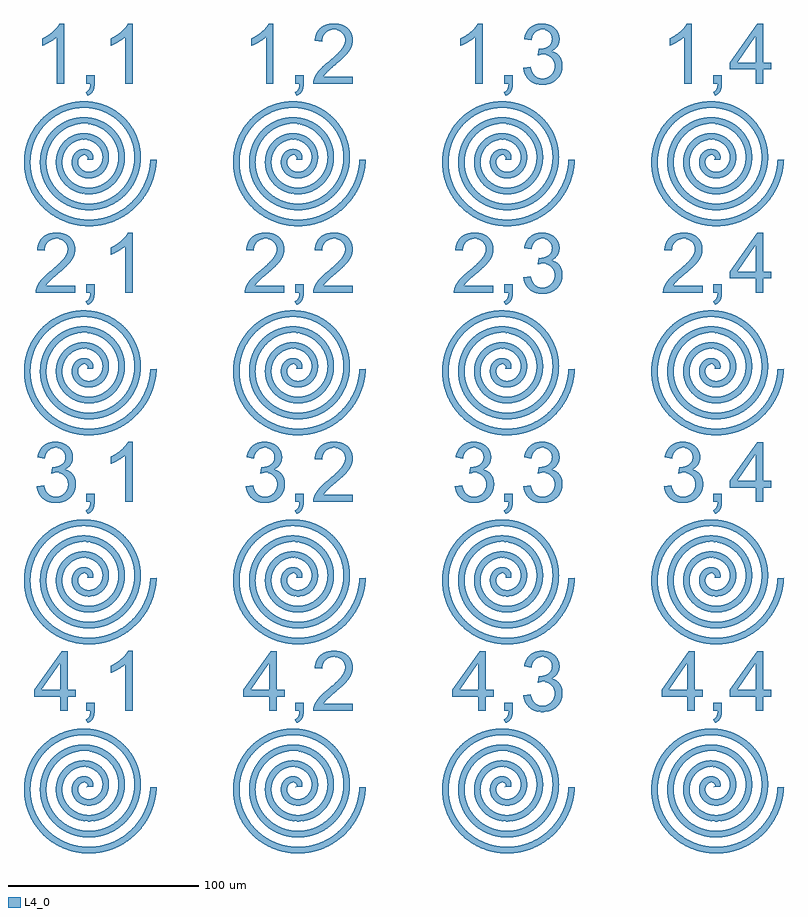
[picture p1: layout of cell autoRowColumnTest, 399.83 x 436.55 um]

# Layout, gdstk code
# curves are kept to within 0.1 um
import gdstk
lib = gdstk.Library(unit=1e-6, precision=1e-09)
def P(c, l, *ps):  # polygons
    for p in ps: c.add(gdstk.Polygon(p, *l))
L4_0 = (4, 0)

spiral = lib.new_cell('spiral')
P(spiral, L4_0, [(0,0),(0.503,0.218),(0.745,0.767),(3.108,3.217),(3.62,1.585),(3.404,0.009)],
  [(0.745,0.767),(0.55,1.55),(-0.062,2.138),(-0.177,5.54),(0.832,5.223),(1.76,4.703),(2.517,4.033),(3.108,3.217)],
  [(-0.062,2.138),(-1.173,2.433),(-2.366,2.167),(-4.888,4.453),(-3.807,5.093),(-2.605,5.506),(-1.336,5.655),(-0.177,5.54)],
  [(-7.667,-0.469),(-7.343,1.026),(-6.741,2.376),(-5.905,3.53),(-4.888,4.453),(-2.366,2.167),(-3.577,1.192),(-4.271,-0.25)],
  [(-5.702,-6.639),(-6.654,-5.284),(-7.333,-3.736),(-7.672,-2.133),(-7.667,-0.469),(-4.271,-0.25),(-4.396,-1.209),(-4.286,-2.277),(-3.495,-4.047)],
  [(0.886,-9.781),(-0.952,-9.519),(-2.745,-8.885),(-4.4,-7.873),(-5.702,-6.639),(-3.495,-4.047),(-2.753,-4.894),(-1.808,-5.598),(-0.69,-6.111),(0.561,-6.393)],
  [(1.283,-9.79),(0.886,-9.781),(0.561,-6.393),(1.896,-6.41),(3.325,-6.121),(4.582,-5.579),(5.806,-4.726),(8.465,-6.852),(6.945,-8.074),(5.169,-9.02),(3.29,-9.593)],
  [(8.465,-6.852),(5.806,-4.726),(6.914,-3.54),(7.737,-2.168),(8.28,-0.607),(8.498,0.997),(11.874,1.426),(11.655,-0.94),(11.023,-3.056),(9.958,-5.064)],
  [(8.498,0.997),(8.399,2.661),(7.904,4.492),(7.055,6.148),(5.856,7.64),(7.898,10.363),(9.448,8.619),(10.689,6.547),(11.495,4.321),(11.854,2.029),(11.874,1.426)],
  [(5.856,7.64),(4.339,8.891),(2.458,9.873),(0.563,10.413),(-1.556,10.581),(-2.09,13.943),(0.295,13.868),(2.725,13.356),(4.982,12.429),(7.102,11.051),(7.898,10.363)],
  [(-9.542,6.881),(-12.327,8.838),(-11.283,9.937),(-9.297,11.525),(-7.102,12.734),(-4.63,13.572),(-2.09,13.943),(-1.556,10.581),(-3.826,10.288),(-5.934,9.55),(-7.897,8.375)],
  [(-15.981,-2.875),(-15.983,0.192),(-15.365,3.308),(-14.156,6.187),(-12.327,8.838),(-9.542,6.881),(-10.963,4.959),(-12.03,2.624),(-12.579,0.186),(-12.638,-2.237)],
  [(-9.67,-14.354),(-12.028,-12.089),(-13.967,-9.311),(-15.291,-6.249),(-15.981,-2.875),(-12.638,-2.237),(-12.19,-4.801),(-11.218,-7.273),(-9.74,-9.544),(-7.8,-11.51)],
  [(1.403,-18.149),(-1.488,-17.928),(-4.443,-17.197),(-7.195,-15.99),(-9.67,-14.354),(-7.8,-11.51),(-5.461,-13.077),(-2.667,-14.204),(0.212,-14.718),(3.04,-14.662),(3.78,-17.984)],
  [(3.78,-17.984),(3.04,-14.662),(6.142,-13.963),(8.948,-12.683),(11.484,-10.836),(13.538,-8.608),(16.439,-10.389),(13.854,-13.263),(10.79,-15.532),(7.383,-17.12)],
  [(16.439,-10.389),(13.538,-8.608),(15.228,-5.843),(16.389,-2.584),(16.842,0.735),(16.647,3.962),(19.946,4.804),(20.193,2.771),(20.235,0.736),(20.074,-1.279),(19.714,-3.255),(18.425,-7.012)],
  [(16.647,3.962),(15.771,7.302),(14.222,10.448),(12.042,13.263),(9.304,15.621),(10.995,18.576),(13.52,16.569),(15.696,14.228),(17.479,11.611),(18.836,8.784),(19.492,6.816),(19.946,4.804)],
  [(9.304,15.621),(6.103,17.41),(2.559,18.541),(-1.192,18.947),(-5.002,18.59),(-5.946,21.861),(-2.589,22.305),(0.544,22.261),(3.83,21.732),(6.97,20.726),(9.141,19.702),(10.995,18.576)],
  [(-17.755,9.884),(-20.761,11.483),(-19.401,13.422),(-17.699,15.374),(-15.073,17.694),(-12.356,19.466),(-9.227,20.91),(-5.946,21.861),(-5.002,18.59),(-8.715,17.465),(-12.175,15.596),(-13.764,14.4),(-15.234,13.041),(-16.57,11.531)],
  [(-23.725,-7.203),(-24.194,-4.773),(-24.417,-2.321),(-24.393,0.127),(-24.125,2.548),(-23.619,4.916),(-22.883,7.21),(-21.926,9.405),(-20.761,11.483),(-17.755,9.884),(-18.776,8.115),(-19.62,6.241),(-20.275,4.278),(-20.734,2.247),(-20.989,0.167),(-21.034,-1.941),(-20.866,-4.057),(-20.485,-6.158)],
  [(-11.852,-22.988),(-14.015,-21.578),(-16.015,-19.967),(-17.835,-18.173),(-19.458,-16.216),(-20.868,-14.117),(-22.056,-11.9),(-23.01,-9.587),(-23.725,-7.203),(-20.485,-6.158),(-19.891,-8.224),(-19.089,-10.232),(-18.083,-12.161),(-16.881,-13.991),(-15.494,-15.701),(-13.933,-17.274),(-12.212,-18.69),(-10.347,-19.935)],
  [(1.434,-26.533),(-2.005,-26.322),(-5.365,-25.67),(-8.59,-24.594),(-11.852,-22.988),(-10.347,-19.935),(-8.354,-20.992),(-6.254,-21.85),(-4.065,-22.497),(-1.581,-22.954),(0.723,-23.13),(3.046,-23.075),(5.134,-22.826),(7.429,-22.326),(8.574,-25.532),(4.893,-26.295)],
  [(8.574,-25.532),(7.429,-22.326),(9.676,-21.595),(11.85,-20.637),(13.929,-19.459),(15.89,-18.072),(17.713,-16.486),(19.377,-14.717),(20.863,-12.778),(22.155,-10.69),(25.254,-12.1),(23.805,-14.491),(22.133,-16.715),(20.256,-18.75),(18.194,-20.578),(15.971,-22.183),(13.609,-23.551),(11.135,-24.67)],
  [(25.254,-12.1),(22.155,-10.69),(23.237,-8.47),(24.096,-6.141),(24.721,-3.725),(25.103,-1.245),(25.235,1.274),(25.114,3.807),(24.738,6.328),(24.108,8.812),(27.278,10.056),(28.016,7.249),(28.467,4.395),(28.631,1.524),(28.506,-1.335),(28.098,-4.155),(27.413,-6.907),(26.461,-9.564)],
  [(24.108,8.812),(23.229,11.233),(22.105,13.566),(20.747,15.786),(19.165,17.87),(17.373,19.794),(15.388,21.538),(13.227,23.083),(10.911,24.41),(12.225,27.551),(15.603,25.586),(18.902,23.013),(21.599,20.25),(24.06,16.93),(25.898,13.588),(27.278,10.056)],
  [(10.911,24.41),(8.462,25.505),(5.903,26.352),(3.258,26.943),(0.555,27.267),(-2.181,27.32),(-4.921,27.097),(-7.638,26.599),(-10.305,25.828),(-11.646,28.957),(-7.751,30.054),(-3.46,30.656),(0.54,30.672),(4.786,30.111),(8.599,29.07),(12.225,27.551)],
  [(-26.696,11.009),(-29.876,12.225),(-27.888,15.909),(-25.248,19.53),(-22.38,22.515),(-19.167,25.088),(-15.666,27.211),(-11.646,28.957),(-10.305,25.828),(-12.894,24.788),(-15.377,23.489),(-17.73,21.941),(-19.925,20.156),(-21.941,18.151),(-23.755,15.945),(-25.346,13.557)],
  [(-30.565,-13.342),(-31.617,-10.183),(-32.345,-6.948),(-32.744,-3.669),(-32.813,-0.38),(-32.554,2.886),(-31.972,6.096),(-31.076,9.219),(-29.876,12.225),(-26.696,11.009),(-27.79,8.328),(-28.614,5.537),(-29.157,2.665),(-29.411,-0.26),(-29.371,-3.21),(-29.034,-6.154),(-28.402,-9.062),(-27.478,-11.905)],
  [(-12.1,-32.223),(-15.197,-30.734),(-18.118,-28.95),(-20.836,-26.891),(-23.325,-24.58),(-25.561,-22.041),(-27.524,-19.302),(-29.197,-16.393),(-30.565,-13.342),(-27.478,-11.905),(-26.269,-14.654),(-24.785,-17.28),(-23.037,-19.755),(-21.042,-22.053),(-18.818,-24.149),(-16.384,-26.02),(-13.764,-27.646),(-10.983,-29.007)],
  [(1.426,-34.925),(-2.06,-34.76),(-5.499,-34.249),(-8.856,-33.399),(-12.1,-32.223),(-10.983,-29.007),(-8.067,-30.087),(-5.044,-30.874),(-1.945,-31.357),(1.2,-31.528),(4.36,-31.383),(7.503,-30.921),(10.597,-30.144),(13.61,-29.056),(15.142,-32.097),(11.817,-33.322),(8.4,-34.206),(4.924,-34.741)],
  [(15.142,-32.097),(13.61,-29.056),(16.511,-27.667),(19.271,-25.988),(21.859,-24.033),(24.248,-21.82),(26.413,-19.369),(28.33,-16.704),(29.978,-13.848),(31.337,-10.83),(34.586,-11.847),(33.109,-15.185),(31.313,-18.347),(29.216,-21.302),(26.844,-24.023),(24.222,-26.485),(21.377,-28.663),(18.339,-30.54)],
  [(34.586,-11.847),(31.337,-10.83),(32.3,-7.998),(32.941,-5.409),(33.375,-2.768),(33.596,-0.092),(37,0),(36.775,-2.948),(36.243,-6.221),(35.526,-9.071)])

autorowcolumntest = lib.new_cell('autoRowColumnTest')
P(autorowcolumntest, L4_0, [(28.734,-6.234),(27.656,-4.578),(28.715,-3.918),(29.489,-2.934),(29.906,-1.727),(30.109,0),(27.906,0),(27.906,4.406),(32.313,4.406),(32.292,-0.734),(31.869,-3.005),(31.398,-4.015),(30.744,-4.872),(29.895,-5.595)],
  [(12.531,0),(12.531,24.641),(11.136,23.477),(9.139,22.144),(6.967,20.938),(4.797,19.984),(4.797,23.719),(7.652,25.293),(10.308,27.279),(12.428,29.417),(13.906,31.625),(16.391,31.625),(16.391,0)],
  [(48.531,0),(48.531,24.641),(47.136,23.477),(45.139,22.144),(42.967,20.938),(40.797,19.984),(40.797,23.719),(43.652,25.293),(46.308,27.279),(48.428,29.417),(49.906,31.625),(52.391,31.625),(52.391,0)],
  [(138.734,-6.234),(137.656,-4.578),(138.715,-3.918),(139.489,-2.934),(139.906,-1.727),(140.109,0),(137.906,0),(137.906,4.406),(142.313,4.406),(142.292,-0.734),(141.869,-3.005),(141.398,-4.015),(140.744,-4.872),(139.895,-5.595)],
  [(122.531,0),(122.531,24.641),(121.136,23.477),(119.139,22.144),(116.967,20.938),(114.797,19.984),(114.797,23.719),(117.652,25.293),(120.308,27.279),(122.428,29.417),(123.906,31.625),(126.391,31.625),(126.391,0)],
  [(147.328,0),(147.44,1.451),(147.781,2.688),(148.586,4.404),(149.608,5.97),(152.312,8.949),(158.531,14.333),(161.542,17.336),(162.554,18.627),(163.363,19.98),(163.887,21.29),(164.125,22.556),(164.083,23.805),(163.825,24.841),(163.289,25.899),(162.594,26.744),(161.724,27.459),(160.596,28.027),(159.461,28.323),(158.203,28.422),(156.875,28.317),(155.688,28.004),(154.641,27.481),(153.734,26.75),(153.001,25.833),(152.473,24.754),(152.149,23.513),(152.031,22.109),(148.063,22.516),(148.503,24.972),(149.341,27.055),(150.355,28.517),(151.648,29.713),(153.285,30.67),(155.061,31.27),(157.201,31.589),(159.667,31.564),(161.784,31.177),(163.634,30.436),(164.957,29.559),(166.088,28.462),(167.026,27.146),(167.674,25.698),(168.017,24.227),(168.103,22.521),(167.891,20.886),(167.384,19.278),(166.142,17.052),(164.28,14.791),(161.598,12.208),(154.796,6.271),(153.641,5.027),(152.703,3.719),(168.156,3.719),(168.156,0)],
  [(248.734,-6.234),(247.656,-4.578),(248.715,-3.918),(249.489,-2.934),(249.906,-1.727),(250.109,0),(247.906,0),(247.906,4.406),(252.313,4.406),(252.292,-0.734),(251.869,-3.005),(251.398,-4.015),(250.744,-4.872),(249.895,-5.595)],
  [(232.531,0),(232.531,24.641),(231.136,23.477),(229.139,22.144),(226.967,20.938),(224.797,19.984),(224.797,23.719),(227.652,25.293),(230.308,27.279),(232.428,29.417),(233.906,31.625),(236.391,31.625),(236.391,0)],
  [(267.859,-0.562),(265.876,-0.408),(264.068,0.057),(262.532,0.773),(261.063,1.837),(259.82,3.154),(258.822,4.752),(258.186,6.442),(257.844,8.313),(261.719,8.828),(262.474,6.307),(263.591,4.486),(265.16,3.266),(267.174,2.676),(269.346,2.79),(271.165,3.494),(272.72,4.771),(273.844,6.503),(274.329,8.367),(274.292,10.337),(273.761,12.048),(272.633,13.609),(271.193,14.666),(269.488,15.235),(267.622,15.316),(265.469,14.906),(265.906,18.313),(267.881,18.368),(269.826,18.932),(271.44,19.899),(272.428,21.132),(272.884,22.573),(272.903,24.303),(272.498,25.692),(271.69,26.877),(270.64,27.731),(269.389,28.256),(267.939,28.452),(266.338,28.285),(264.734,27.585),(263.512,26.449),(262.631,24.847),(262.109,22.781),(258.234,23.469),(258.699,25.298),(259.341,26.816),(260.245,28.225),(261.375,29.417),(262.787,30.421),(264.273,31.09),(265.912,31.491),(267.703,31.625),(270.328,31.312),(272.851,30.301),(274.768,28.818),(276.164,26.776),(276.67,25.404),(276.912,23.84),(276.854,22.444),(276.495,21.036),(275.895,19.832),(275.042,18.745),(273.942,17.821),(272.594,17.063),(273.907,16.655),(275.066,16.074),(276.071,15.319),(276.922,14.391),(277.599,13.311),(278.082,12.102),(278.372,10.764),(278.469,9.297),(278.281,7.313),(277.717,5.486),(276.706,3.718),(275.367,2.216),(273.858,1.05),(272.057,0.154),(270.057,-0.383)],
  [(358.734,-6.234),(357.656,-4.578),(358.715,-3.918),(359.489,-2.934),(359.906,-1.727),(360.109,0),(357.906,0),(357.906,4.406),(362.313,4.406),(362.292,-0.734),(361.869,-3.005),(361.398,-4.015),(360.744,-4.872),(359.895,-5.595)],
  [(380.219,0),(380.219,7.547),(366.563,7.547),(366.563,11.094),(380.219,11.094),(380.219,25.281),(370.359,11.094),(366.563,11.094),(380.938,31.5),(384.094,31.5),(384.094,11.094),(388.344,11.094),(388.344,7.547),(384.094,7.547),(384.094,0)],
  [(342.531,0),(342.531,24.641),(341.136,23.477),(339.139,22.144),(336.967,20.938),(334.797,19.984),(334.797,23.719),(337.652,25.293),(340.308,27.279),(342.428,29.417),(343.906,31.625),(346.391,31.625),(346.391,0)],
  [(28.734,-116.234),(27.656,-114.578),(28.715,-113.918),(29.489,-112.934),(29.906,-111.727),(30.109,-110),(27.906,-110),(27.906,-105.594),(32.313,-105.594),(32.292,-110.734),(31.869,-113.005),(31.398,-114.015),(30.744,-114.872),(29.895,-115.595)],
  [(1.328,-110),(1.44,-108.549),(1.781,-107.312),(2.586,-105.596),(3.608,-104.03),(6.312,-101.051),(12.531,-95.667),(15.542,-92.664),(16.554,-91.373),(17.363,-90.02),(17.887,-88.71),(18.125,-87.444),(18.083,-86.195),(17.825,-85.159),(17.289,-84.101),(16.594,-83.256),(15.724,-82.541),(14.596,-81.973),(13.461,-81.677),(12.203,-81.578),(10.875,-81.683),(9.688,-81.996),(8.641,-82.519),(7.734,-83.25),(7.001,-84.167),(6.473,-85.246),(6.149,-86.487),(6.031,-87.891),(2.063,-87.484),(2.503,-85.028),(3.341,-82.945),(4.355,-81.483),(5.648,-80.287),(7.285,-79.33),(9.061,-78.73),(11.201,-78.411),(13.667,-78.436),(15.784,-78.823),(17.634,-79.564),(18.957,-80.441),(20.088,-81.538),(21.026,-82.854),(21.674,-84.302),(22.017,-85.773),(22.103,-87.479),(21.891,-89.114),(21.384,-90.722),(20.142,-92.948),(18.28,-95.209),(15.598,-97.792),(8.796,-103.729),(7.641,-104.973),(6.703,-106.281),(22.156,-106.281),(22.156,-110)],
  [(48.531,-110),(48.531,-85.359),(47.136,-86.523),(45.139,-87.856),(42.967,-89.062),(40.797,-90.016),(40.797,-86.281),(43.652,-84.707),(46.308,-82.721),(48.428,-80.583),(49.906,-78.375),(52.391,-78.375),(52.391,-110)],
  [(138.734,-116.234),(137.656,-114.578),(138.715,-113.918),(139.489,-112.934),(139.906,-111.727),(140.109,-110),(137.906,-110),(137.906,-105.594),(142.313,-105.594),(142.292,-110.734),(141.869,-113.005),(141.398,-114.015),(140.744,-114.872),(139.895,-115.595)],
  [(111.328,-110),(111.44,-108.549),(111.781,-107.312),(112.586,-105.596),(113.608,-104.03),(116.312,-101.051),(122.531,-95.667),(125.542,-92.664),(126.554,-91.373),(127.363,-90.02),(127.887,-88.71),(128.125,-87.444),(128.083,-86.195),(127.825,-85.159),(127.289,-84.101),(126.594,-83.256),(125.724,-82.541),(124.596,-81.973),(123.461,-81.677),(122.203,-81.578),(120.875,-81.683),(119.688,-81.996),(118.641,-82.519),(117.734,-83.25),(117.001,-84.167),(116.473,-85.246),(116.149,-86.487),(116.031,-87.891),(112.063,-87.484),(112.503,-85.028),(113.341,-82.945),(114.355,-81.483),(115.648,-80.287),(117.285,-79.33),(119.061,-78.73),(121.201,-78.411),(123.667,-78.436),(125.784,-78.823),(127.634,-79.564),(128.957,-80.441),(130.088,-81.538),(131.026,-82.854),(131.674,-84.302),(132.017,-85.773),(132.103,-87.479),(131.891,-89.114),(131.384,-90.722),(130.142,-92.948),(128.28,-95.209),(125.598,-97.792),(118.796,-103.729),(117.641,-104.973),(116.703,-106.281),(132.156,-106.281),(132.156,-110)],
  [(147.328,-110),(147.44,-108.549),(147.781,-107.312),(148.586,-105.596),(149.608,-104.03),(152.312,-101.051),(158.531,-95.667),(161.542,-92.664),(162.554,-91.373),(163.363,-90.02),(163.887,-88.71),(164.125,-87.444),(164.083,-86.195),(163.825,-85.159),(163.289,-84.101),(162.594,-83.256),(161.724,-82.541),(160.596,-81.973),(159.461,-81.677),(158.203,-81.578),(156.875,-81.683),(155.688,-81.996),(154.641,-82.519),(153.734,-83.25),(153.001,-84.167),(152.473,-85.246),(152.149,-86.487),(152.031,-87.891),(148.063,-87.484),(148.503,-85.028),(149.341,-82.945),(150.355,-81.483),(151.648,-80.287),(153.285,-79.33),(155.061,-78.73),(157.201,-78.411),(159.667,-78.436),(161.784,-78.823),(163.634,-79.564),(164.957,-80.441),(166.088,-81.538),(167.026,-82.854),(167.674,-84.302),(168.017,-85.773),(168.103,-87.479),(167.891,-89.114),(167.384,-90.722),(166.142,-92.948),(164.28,-95.209),(161.598,-97.792),(154.796,-103.729),(153.641,-104.973),(152.703,-106.281),(168.156,-106.281),(168.156,-110)],
  [(248.734,-116.234),(247.656,-114.578),(248.715,-113.918),(249.489,-112.934),(249.906,-111.727),(250.109,-110),(247.906,-110),(247.906,-105.594),(252.313,-105.594),(252.292,-110.734),(251.869,-113.005),(251.398,-114.015),(250.744,-114.872),(249.895,-115.595)],
  [(221.328,-110),(221.44,-108.549),(221.781,-107.312),(222.586,-105.596),(223.608,-104.03),(226.312,-101.051),(232.531,-95.667),(235.542,-92.664),(236.554,-91.373),(237.363,-90.02),(237.887,-88.71),(238.125,-87.444),(238.083,-86.195),(237.825,-85.159),(237.289,-84.101),(236.594,-83.256),(235.724,-82.541),(234.596,-81.973),(233.461,-81.677),(232.203,-81.578),(230.875,-81.683),(229.688,-81.996),(228.641,-82.519),(227.734,-83.25),(227.001,-84.167),(226.473,-85.246),(226.149,-86.487),(226.031,-87.891),(222.063,-87.484),(222.503,-85.028),(223.341,-82.945),(224.355,-81.483),(225.648,-80.287),(227.285,-79.33),(229.061,-78.73),(231.201,-78.411),(233.667,-78.436),(235.784,-78.823),(237.634,-79.564),(238.957,-80.441),(240.088,-81.538),(241.026,-82.854),(241.674,-84.302),(242.017,-85.773),(242.103,-87.479),(241.891,-89.114),(241.384,-90.722),(240.142,-92.948),(238.28,-95.209),(235.598,-97.792),(228.796,-103.729),(227.641,-104.973),(226.703,-106.281),(242.156,-106.281),(242.156,-110)],
  [(267.859,-110.562),(265.876,-110.408),(264.068,-109.943),(262.532,-109.227),(261.063,-108.163),(259.82,-106.846),(258.822,-105.248),(258.186,-103.558),(257.844,-101.687),(261.719,-101.172),(262.474,-103.693),(263.591,-105.514),(265.16,-106.734),(267.174,-107.324),(269.346,-107.21),(271.165,-106.506),(272.72,-105.229),(273.844,-103.497),(274.329,-101.633),(274.292,-99.663),(273.761,-97.952),(272.633,-96.391),(271.193,-95.334),(269.488,-94.765),(267.622,-94.684),(265.469,-95.094),(265.906,-91.687),(267.881,-91.632),(269.826,-91.068),(271.44,-90.101),(272.428,-88.868),(272.884,-87.427),(272.903,-85.697),(272.498,-84.308),(271.69,-83.123),(270.64,-82.269),(269.389,-81.744),(267.939,-81.548),(266.338,-81.715),(264.734,-82.415),(263.512,-83.551),(262.631,-85.153),(262.109,-87.219),(258.234,-86.531),(258.699,-84.702),(259.341,-83.184),(260.245,-81.775),(261.375,-80.583),(262.787,-79.579),(264.273,-78.91),(265.912,-78.509),(267.703,-78.375),(270.328,-78.688),(272.851,-79.699),(274.768,-81.182),(276.164,-83.224),(276.67,-84.596),(276.912,-86.16),(276.854,-87.556),(276.495,-88.964),(275.895,-90.168),(275.042,-91.255),(273.942,-92.179),(272.594,-92.937),(273.907,-93.345),(275.066,-93.926),(276.071,-94.681),(276.922,-95.609),(277.599,-96.689),(278.082,-97.898),(278.372,-99.236),(278.469,-100.703),(278.281,-102.687),(277.717,-104.514),(276.706,-106.282),(275.367,-107.784),(273.858,-108.95),(272.057,-109.846),(270.057,-110.383)],
  [(358.734,-116.234),(357.656,-114.578),(358.715,-113.918),(359.489,-112.934),(359.906,-111.727),(360.109,-110),(357.906,-110),(357.906,-105.594),(362.313,-105.594),(362.292,-110.734),(361.869,-113.005),(361.398,-114.015),(360.744,-114.872),(359.895,-115.595)],
  [(380.219,-110),(380.219,-102.453),(366.563,-102.453),(366.563,-98.906),(380.219,-98.906),(380.219,-84.719),(370.359,-98.906),(366.563,-98.906),(380.938,-78.5),(384.094,-78.5),(384.094,-98.906),(388.344,-98.906),(388.344,-102.453),(384.094,-102.453),(384.094,-110)],
  [(331.328,-110),(331.44,-108.549),(331.781,-107.312),(332.586,-105.596),(333.608,-104.03),(336.312,-101.051),(342.531,-95.667),(345.542,-92.664),(346.554,-91.373),(347.363,-90.02),(347.887,-88.71),(348.125,-87.444),(348.083,-86.195),(347.825,-85.159),(347.289,-84.101),(346.594,-83.256),(345.724,-82.541),(344.596,-81.973),(343.461,-81.677),(342.203,-81.578),(340.875,-81.683),(339.688,-81.996),(338.641,-82.519),(337.734,-83.25),(337.001,-84.167),(336.473,-85.246),(336.149,-86.487),(336.031,-87.891),(332.063,-87.484),(332.503,-85.028),(333.341,-82.945),(334.355,-81.483),(335.648,-80.287),(337.285,-79.33),(339.061,-78.73),(341.201,-78.411),(343.667,-78.436),(345.784,-78.823),(347.634,-79.564),(348.957,-80.441),(350.088,-81.538),(351.026,-82.854),(351.674,-84.302),(352.017,-85.773),(352.103,-87.479),(351.891,-89.114),(351.384,-90.722),(350.142,-92.948),(348.28,-95.209),(345.598,-97.792),(338.796,-103.729),(337.641,-104.973),(336.703,-106.281),(352.156,-106.281),(352.156,-110)],
  [(28.734,-226.234),(27.656,-224.578),(28.715,-223.918),(29.489,-222.934),(29.906,-221.727),(30.109,-220),(27.906,-220),(27.906,-215.594),(32.313,-215.594),(32.292,-220.734),(31.869,-223.005),(31.398,-224.015),(30.744,-224.872),(29.895,-225.595)],
  [(11.859,-220.562),(9.876,-220.408),(8.068,-219.943),(6.532,-219.227),(5.063,-218.163),(3.82,-216.846),(2.822,-215.248),(2.186,-213.558),(1.844,-211.687),(5.719,-211.172),(6.474,-213.693),(7.591,-215.514),(9.16,-216.734),(11.174,-217.324),(13.346,-217.21),(15.165,-216.506),(16.72,-215.229),(17.844,-213.497),(18.329,-211.633),(18.292,-209.663),(17.761,-207.952),(16.633,-206.391),(15.193,-205.334),(13.488,-204.765),(11.622,-204.684),(9.469,-205.094),(9.906,-201.687),(11.881,-201.632),(13.826,-201.068),(15.44,-200.101),(16.428,-198.868),(16.884,-197.427),(16.903,-195.697),(16.498,-194.308),(15.69,-193.123),(14.64,-192.269),(13.389,-191.744),(11.939,-191.548),(10.338,-191.715),(8.734,-192.415),(7.512,-193.551),(6.631,-195.153),(6.109,-197.219),(2.234,-196.531),(2.699,-194.702),(3.341,-193.184),(4.245,-191.775),(5.375,-190.583),(6.787,-189.579),(8.273,-188.91),(9.912,-188.509),(11.703,-188.375),(14.328,-188.688),(16.851,-189.699),(18.768,-191.182),(20.164,-193.224),(20.67,-194.596),(20.912,-196.16),(20.854,-197.556),(20.495,-198.964),(19.895,-200.168),(19.042,-201.255),(17.942,-202.179),(16.594,-202.937),(17.907,-203.345),(19.066,-203.926),(20.071,-204.681),(20.922,-205.609),(21.599,-206.689),(22.082,-207.898),(22.372,-209.236),(22.469,-210.703),(22.281,-212.687),(21.717,-214.514),(20.706,-216.282),(19.367,-217.784),(17.858,-218.95),(16.057,-219.846),(14.057,-220.383)],
  [(48.531,-220),(48.531,-195.359),(47.136,-196.523),(45.139,-197.856),(42.967,-199.062),(40.797,-200.016),(40.797,-196.281),(43.652,-194.707),(46.308,-192.721),(48.428,-190.583),(49.906,-188.375),(52.391,-188.375),(52.391,-220)],
  [(138.734,-226.234),(137.656,-224.578),(138.715,-223.918),(139.489,-222.934),(139.906,-221.727),(140.109,-220),(137.906,-220),(137.906,-215.594),(142.313,-215.594),(142.292,-220.734),(141.869,-223.005),(141.398,-224.015),(140.744,-224.872),(139.895,-225.595)],
  [(121.859,-220.562),(119.876,-220.408),(118.068,-219.943),(116.532,-219.227),(115.063,-218.163),(113.82,-216.846),(112.822,-215.248),(112.186,-213.558),(111.844,-211.687),(115.719,-211.172),(116.474,-213.693),(117.591,-215.514),(119.16,-216.734),(121.174,-217.324),(123.346,-217.21),(125.165,-216.506),(126.72,-215.229),(127.844,-213.497),(128.329,-211.633),(128.292,-209.663),(127.761,-207.952),(126.633,-206.391),(125.193,-205.334),(123.488,-204.765),(121.622,-204.684),(119.469,-205.094),(119.906,-201.687),(121.881,-201.632),(123.826,-201.068),(125.44,-200.101),(126.428,-198.868),(126.884,-197.427),(126.903,-195.697),(126.498,-194.308),(125.69,-193.123),(124.64,-192.269),(123.389,-191.744),(121.939,-191.548),(120.338,-191.715),(118.734,-192.415),(117.512,-193.551),(116.631,-195.153),(116.109,-197.219),(112.234,-196.531),(112.699,-194.702),(113.341,-193.184),(114.245,-191.775),(115.375,-190.583),(116.787,-189.579),(118.273,-188.91),(119.912,-188.509),(121.703,-188.375),(124.328,-188.688),(126.851,-189.699),(128.768,-191.182),(130.164,-193.224),(130.67,-194.596),(130.912,-196.16),(130.854,-197.556),(130.495,-198.964),(129.895,-200.168),(129.042,-201.255),(127.942,-202.179),(126.594,-202.937),(127.907,-203.345),(129.066,-203.926),(130.071,-204.681),(130.922,-205.609),(131.599,-206.689),(132.082,-207.898),(132.372,-209.236),(132.469,-210.703),(132.281,-212.687),(131.717,-214.514),(130.706,-216.282),(129.367,-217.784),(127.858,-218.95),(126.057,-219.846),(124.057,-220.383)],
  [(147.328,-220),(147.44,-218.549),(147.781,-217.312),(148.586,-215.596),(149.608,-214.03),(152.312,-211.051),(158.531,-205.667),(161.542,-202.664),(162.554,-201.373),(163.363,-200.02),(163.887,-198.71),(164.125,-197.444),(164.083,-196.195),(163.825,-195.159),(163.289,-194.101),(162.594,-193.256),(161.724,-192.541),(160.596,-191.973),(159.461,-191.677),(158.203,-191.578),(156.875,-191.683),(155.688,-191.996),(154.641,-192.519),(153.734,-193.25),(153.001,-194.167),(152.473,-195.246),(152.149,-196.487),(152.031,-197.891),(148.063,-197.484),(148.503,-195.028),(149.341,-192.945),(150.355,-191.483),(151.648,-190.287),(153.285,-189.33),(155.061,-188.73),(157.201,-188.411),(159.667,-188.436),(161.784,-188.823),(163.634,-189.564),(164.957,-190.441),(166.088,-191.538),(167.026,-192.854),(167.674,-194.302),(168.017,-195.773),(168.103,-197.479),(167.891,-199.114),(167.384,-200.722),(166.142,-202.948),(164.28,-205.209),(161.598,-207.792),(154.796,-213.729),(153.641,-214.973),(152.703,-216.281),(168.156,-216.281),(168.156,-220)],
  [(248.734,-226.234),(247.656,-224.578),(248.715,-223.918),(249.489,-222.934),(249.906,-221.727),(250.109,-220),(247.906,-220),(247.906,-215.594),(252.313,-215.594),(252.292,-220.734),(251.869,-223.005),(251.398,-224.015),(250.744,-224.872),(249.895,-225.595)],
  [(231.859,-220.562),(229.876,-220.408),(228.068,-219.943),(226.532,-219.227),(225.063,-218.163),(223.82,-216.846),(222.822,-215.248),(222.186,-213.558),(221.844,-211.687),(225.719,-211.172),(226.474,-213.693),(227.591,-215.514),(229.16,-216.734),(231.174,-217.324),(233.346,-217.21),(235.165,-216.506),(236.72,-215.229),(237.844,-213.497),(238.329,-211.633),(238.292,-209.663),(237.761,-207.952),(236.633,-206.391),(235.193,-205.334),(233.488,-204.765),(231.622,-204.684),(229.469,-205.094),(229.906,-201.687),(231.881,-201.632),(233.826,-201.068),(235.44,-200.101),(236.428,-198.868),(236.884,-197.427),(236.903,-195.697),(236.498,-194.308),(235.69,-193.123),(234.64,-192.269),(233.389,-191.744),(231.939,-191.548),(230.338,-191.715),(228.734,-192.415),(227.512,-193.551),(226.631,-195.153),(226.109,-197.219),(222.234,-196.531),(222.699,-194.702),(223.341,-193.184),(224.245,-191.775),(225.375,-190.583),(226.787,-189.579),(228.273,-188.91),(229.912,-188.509),(231.703,-188.375),(234.328,-188.688),(236.851,-189.699),(238.768,-191.182),(240.164,-193.224),(240.67,-194.596),(240.912,-196.16),(240.854,-197.556),(240.495,-198.964),(239.895,-200.168),(239.042,-201.255),(237.942,-202.179),(236.594,-202.937),(237.907,-203.345),(239.066,-203.926),(240.071,-204.681),(240.922,-205.609),(241.599,-206.689),(242.082,-207.898),(242.372,-209.236),(242.469,-210.703),(242.281,-212.687),(241.717,-214.514),(240.706,-216.282),(239.367,-217.784),(237.858,-218.95),(236.057,-219.846),(234.057,-220.383)],
  [(267.859,-220.562),(265.876,-220.408),(264.068,-219.943),(262.532,-219.227),(261.063,-218.163),(259.82,-216.846),(258.822,-215.248),(258.186,-213.558),(257.844,-211.687),(261.719,-211.172),(262.474,-213.693),(263.591,-215.514),(265.16,-216.734),(267.174,-217.324),(269.346,-217.21),(271.165,-216.506),(272.72,-215.229),(273.844,-213.497),(274.329,-211.633),(274.292,-209.663),(273.761,-207.952),(272.633,-206.391),(271.193,-205.334),(269.488,-204.765),(267.622,-204.684),(265.469,-205.094),(265.906,-201.687),(267.881,-201.632),(269.826,-201.068),(271.44,-200.101),(272.428,-198.868),(272.884,-197.427),(272.903,-195.697),(272.498,-194.308),(271.69,-193.123),(270.64,-192.269),(269.389,-191.744),(267.939,-191.548),(266.338,-191.715),(264.734,-192.415),(263.512,-193.551),(262.631,-195.153),(262.109,-197.219),(258.234,-196.531),(258.699,-194.702),(259.341,-193.184),(260.245,-191.775),(261.375,-190.583),(262.787,-189.579),(264.273,-188.91),(265.912,-188.509),(267.703,-188.375),(270.328,-188.688),(272.851,-189.699),(274.768,-191.182),(276.164,-193.224),(276.67,-194.596),(276.912,-196.16),(276.854,-197.556),(276.495,-198.964),(275.895,-200.168),(275.042,-201.255),(273.942,-202.179),(272.594,-202.937),(273.907,-203.345),(275.066,-203.926),(276.071,-204.681),(276.922,-205.609),(277.599,-206.689),(278.082,-207.898),(278.372,-209.236),(278.469,-210.703),(278.281,-212.687),(277.717,-214.514),(276.706,-216.282),(275.367,-217.784),(273.858,-218.95),(272.057,-219.846),(270.057,-220.383)],
  [(358.734,-226.234),(357.656,-224.578),(358.715,-223.918),(359.489,-222.934),(359.906,-221.727),(360.109,-220),(357.906,-220),(357.906,-215.594),(362.313,-215.594),(362.292,-220.734),(361.869,-223.005),(361.398,-224.015),(360.744,-224.872),(359.895,-225.595)],
  [(380.219,-220),(380.219,-212.453),(366.563,-212.453),(366.563,-208.906),(380.219,-208.906),(380.219,-194.719),(370.359,-208.906),(366.563,-208.906),(380.938,-188.5),(384.094,-188.5),(384.094,-208.906),(388.344,-208.906),(388.344,-212.453),(384.094,-212.453),(384.094,-220)],
  [(341.859,-220.562),(339.876,-220.408),(338.068,-219.943),(336.532,-219.227),(335.063,-218.163),(333.82,-216.846),(332.822,-215.248),(332.186,-213.558),(331.844,-211.687),(335.719,-211.172),(336.474,-213.693),(337.591,-215.514),(339.16,-216.734),(341.174,-217.324),(343.346,-217.21),(345.165,-216.506),(346.72,-215.229),(347.844,-213.497),(348.329,-211.633),(348.292,-209.663),(347.761,-207.952),(346.633,-206.391),(345.193,-205.334),(343.488,-204.765),(341.622,-204.684),(339.469,-205.094),(339.906,-201.687),(341.881,-201.632),(343.826,-201.068),(345.44,-200.101),(346.428,-198.868),(346.884,-197.427),(346.903,-195.697),(346.498,-194.308),(345.69,-193.123),(344.64,-192.269),(343.389,-191.744),(341.939,-191.548),(340.338,-191.715),(338.734,-192.415),(337.512,-193.551),(336.631,-195.153),(336.109,-197.219),(332.234,-196.531),(332.699,-194.702),(333.341,-193.184),(334.245,-191.775),(335.375,-190.583),(336.787,-189.579),(338.273,-188.91),(339.912,-188.509),(341.703,-188.375),(344.328,-188.688),(346.851,-189.699),(348.768,-191.182),(350.164,-193.224),(350.67,-194.596),(350.912,-196.16),(350.854,-197.556),(350.495,-198.964),(349.895,-200.168),(349.042,-201.255),(347.942,-202.179),(346.594,-202.937),(347.907,-203.345),(349.066,-203.926),(350.071,-204.681),(350.922,-205.609),(351.599,-206.689),(352.082,-207.898),(352.372,-209.236),(352.469,-210.703),(352.281,-212.687),(351.717,-214.514),(350.706,-216.282),(349.367,-217.784),(347.858,-218.95),(346.057,-219.846),(344.057,-220.383)],
  [(28.734,-336.234),(27.656,-334.578),(28.715,-333.918),(29.489,-332.934),(29.906,-331.727),(30.109,-330),(27.906,-330),(27.906,-325.594),(32.313,-325.594),(32.292,-330.734),(31.869,-333.005),(31.398,-334.015),(30.744,-334.872),(29.895,-335.595)],
  [(14.219,-330),(14.219,-322.453),(0.563,-322.453),(0.563,-318.906),(14.219,-318.906),(14.219,-304.719),(4.359,-318.906),(0.563,-318.906),(14.938,-298.5),(18.094,-298.5),(18.094,-318.906),(22.344,-318.906),(22.344,-322.453),(18.094,-322.453),(18.094,-330)],
  [(48.531,-330),(48.531,-305.359),(47.136,-306.523),(45.139,-307.856),(42.967,-309.062),(40.797,-310.016),(40.797,-306.281),(43.652,-304.707),(46.308,-302.721),(48.428,-300.583),(49.906,-298.375),(52.391,-298.375),(52.391,-330)],
  [(138.734,-336.234),(137.656,-334.578),(138.715,-333.918),(139.489,-332.934),(139.906,-331.727),(140.109,-330),(137.906,-330),(137.906,-325.594),(142.313,-325.594),(142.292,-330.734),(141.869,-333.005),(141.398,-334.015),(140.744,-334.872),(139.895,-335.595)],
  [(124.219,-330),(124.219,-322.453),(110.563,-322.453),(110.563,-318.906),(124.219,-318.906),(124.219,-304.719),(114.359,-318.906),(110.563,-318.906),(124.938,-298.5),(128.094,-298.5),(128.094,-318.906),(132.344,-318.906),(132.344,-322.453),(128.094,-322.453),(128.094,-330)],
  [(147.328,-330),(147.44,-328.549),(147.781,-327.312),(148.586,-325.596),(149.608,-324.03),(152.312,-321.051),(158.531,-315.667),(161.542,-312.664),(162.554,-311.373),(163.363,-310.02),(163.887,-308.71),(164.125,-307.444),(164.083,-306.195),(163.825,-305.159),(163.289,-304.101),(162.594,-303.256),(161.724,-302.541),(160.596,-301.973),(159.461,-301.677),(158.203,-301.578),(156.875,-301.683),(155.688,-301.996),(154.641,-302.519),(153.734,-303.25),(153.001,-304.167),(152.473,-305.246),(152.149,-306.487),(152.031,-307.891),(148.063,-307.484),(148.503,-305.028),(149.341,-302.945),(150.355,-301.483),(151.648,-300.287),(153.285,-299.33),(155.061,-298.73),(157.201,-298.411),(159.667,-298.436),(161.784,-298.823),(163.634,-299.564),(164.957,-300.441),(166.088,-301.538),(167.026,-302.854),(167.674,-304.302),(168.017,-305.773),(168.103,-307.479),(167.891,-309.114),(167.384,-310.722),(166.142,-312.948),(164.28,-315.209),(161.598,-317.792),(154.796,-323.729),(153.641,-324.973),(152.703,-326.281),(168.156,-326.281),(168.156,-330)],
  [(248.734,-336.234),(247.656,-334.578),(248.715,-333.918),(249.489,-332.934),(249.906,-331.727),(250.109,-330),(247.906,-330),(247.906,-325.594),(252.313,-325.594),(252.292,-330.734),(251.869,-333.005),(251.398,-334.015),(250.744,-334.872),(249.895,-335.595)],
  [(234.219,-330),(234.219,-322.453),(220.563,-322.453),(220.563,-318.906),(234.219,-318.906),(234.219,-304.719),(224.359,-318.906),(220.563,-318.906),(234.938,-298.5),(238.094,-298.5),(238.094,-318.906),(242.344,-318.906),(242.344,-322.453),(238.094,-322.453),(238.094,-330)],
  [(267.859,-330.562),(265.876,-330.408),(264.068,-329.943),(262.532,-329.227),(261.063,-328.163),(259.82,-326.846),(258.822,-325.248),(258.186,-323.558),(257.844,-321.687),(261.719,-321.172),(262.474,-323.693),(263.591,-325.514),(265.16,-326.734),(267.174,-327.324),(269.346,-327.21),(271.165,-326.506),(272.72,-325.229),(273.844,-323.497),(274.329,-321.633),(274.292,-319.663),(273.761,-317.952),(272.633,-316.391),(271.193,-315.334),(269.488,-314.765),(267.622,-314.684),(265.469,-315.094),(265.906,-311.687),(267.881,-311.632),(269.826,-311.068),(271.44,-310.101),(272.428,-308.868),(272.884,-307.427),(272.903,-305.697),(272.498,-304.308),(271.69,-303.123),(270.64,-302.269),(269.389,-301.744),(267.939,-301.548),(266.338,-301.715),(264.734,-302.415),(263.512,-303.551),(262.631,-305.153),(262.109,-307.219),(258.234,-306.531),(258.699,-304.702),(259.341,-303.184),(260.245,-301.775),(261.375,-300.583),(262.787,-299.579),(264.273,-298.91),(265.912,-298.509),(267.703,-298.375),(270.328,-298.688),(272.851,-299.699),(274.768,-301.182),(276.164,-303.224),(276.67,-304.596),(276.912,-306.16),(276.854,-307.556),(276.495,-308.964),(275.895,-310.168),(275.042,-311.255),(273.942,-312.179),(272.594,-312.937),(273.907,-313.345),(275.066,-313.926),(276.071,-314.681),(276.922,-315.609),(277.599,-316.689),(278.082,-317.898),(278.372,-319.236),(278.469,-320.703),(278.281,-322.687),(277.717,-324.514),(276.706,-326.282),(275.367,-327.784),(273.858,-328.95),(272.057,-329.846),(270.057,-330.383)],
  [(358.734,-336.234),(357.656,-334.578),(358.715,-333.918),(359.489,-332.934),(359.906,-331.727),(360.109,-330),(357.906,-330),(357.906,-325.594),(362.313,-325.594),(362.292,-330.734),(361.869,-333.005),(361.398,-334.015),(360.744,-334.872),(359.895,-335.595)],
  [(344.219,-330),(344.219,-322.453),(330.563,-322.453),(330.563,-318.906),(344.219,-318.906),(344.219,-304.719),(334.359,-318.906),(330.563,-318.906),(344.938,-298.5),(348.094,-298.5),(348.094,-318.906),(352.344,-318.906),(352.344,-322.453),(348.094,-322.453),(348.094,-330)],
  [(380.219,-330),(380.219,-322.453),(366.563,-322.453),(366.563,-318.906),(380.219,-318.906),(380.219,-304.719),(370.359,-318.906),(366.563,-318.906),(380.938,-298.5),(384.094,-298.5),(384.094,-318.906),(388.344,-318.906),(388.344,-322.453),(384.094,-322.453),(384.094,-330)])
r = gdstk.Reference(spiral, (28,-370)); r.repetition = gdstk.Repetition(4, 4, v1=(110,0), v2=(0,110)); autorowcolumntest.add(r)

lib.write_gds('autoRowColumnTest.gds')
